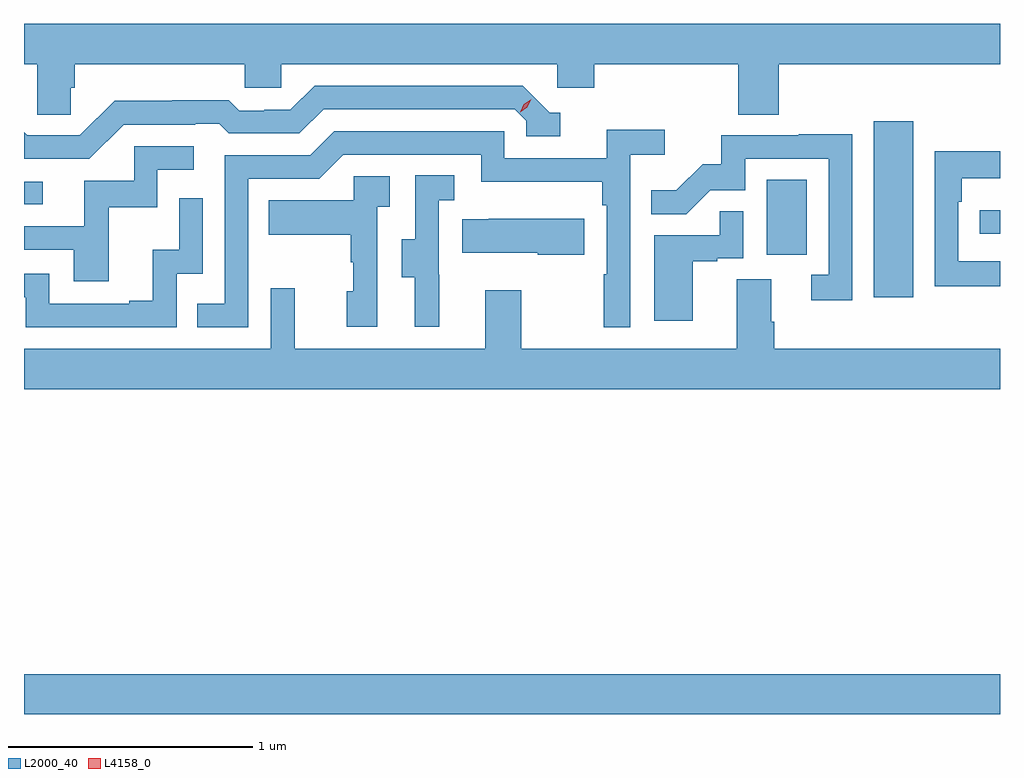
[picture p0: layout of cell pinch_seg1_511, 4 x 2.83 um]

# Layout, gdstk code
import gdstk
lib = gdstk.Library(unit=1e-6, precision=1e-09)
def R(c, l, rs):  # rectangles x0, y0, x1, y1
    for r in rs: c.add(gdstk.rectangle(r[:2], r[2:], *l))
def P(c, l, *ps):  # polygons
    for p in ps: c.add(gdstk.Polygon(p, *l))
L2000_40 = (2000, 40)
L4158_0 = (4158, 0)

pinch_seg1_511 = lib.new_cell('pinch_seg1_511')
R(pinch_seg1_511, L2000_40, [(1028.561,522.428,1032.561,522.592), (1032.044,524.136,1032.205,524.857), (1031.606,524.31,1031.77,524.617), (1032.477,524.397,1032.561,524.493), (1028.561,524.517,1028.638,524.61)])
P(pinch_seg1_511, L2000_40, [(1028.753,524.994),(1028.768,524.994),(1028.768,525.092),(1029.465,525.092),(1029.465,524.994),(1029.615,524.994),(1029.615,525.092),(1030.746,525.092),(1030.746,524.994),(1030.898,524.994),(1030.898,525.092),(1031.489,525.092),(1031.489,524.884),(1031.654,524.884),(1031.654,525.092),(1032.561,525.092),(1032.561,525.256),(1028.561,525.256),(1028.561,525.092),(1028.616,525.092),(1028.616,524.884),(1028.753,524.884)],
  [(1028.97,524.844),(1029.263,524.844),(1029.263,524.847),(1029.362,524.847),(1029.401,524.808),(1029.69,524.808),(1029.789,524.907),(1030.572,524.907),(1030.62,524.859),(1030.62,524.796),(1030.759,524.796),(1030.759,524.892),(1030.716,524.892),(1030.605,525.003),(1029.752,525.003),(1029.653,524.904),(1029.546,524.904),(1029.546,524.901),(1029.443,524.901),(1029.401,524.944),(1029.168,524.944),(1029.168,524.941),(1028.932,524.941),(1028.79,524.799),(1028.574,524.799),(1028.561,524.812),(1028.561,524.703),(1028.829,524.703)],
  [(1029.48,524.622),(1029.771,524.622),(1029.87,524.721),(1030.434,524.721),(1030.434,524.609),(1030.93,524.609),(1030.93,524.513),(1030.95,524.513),(1030.95,524.231),(1030.938,524.231),(1030.938,524.013),(1031.046,524.013),(1031.046,524.72),(1031.188,524.72),(1031.188,524.822),(1030.949,524.822),(1030.949,524.706),(1030.53,524.706),(1030.53,524.817),(1029.833,524.817),(1029.734,524.718),(1029.384,524.718),(1029.384,524.109),(1029.271,524.109),(1029.271,524.013),(1029.48,524.013)],
  [(1031.955,524.804),(1031.737,524.804),(1031.737,524.799),(1031.419,524.799),(1031.419,524.682),(1031.342,524.682),(1031.235,524.575),(1031.131,524.575),(1031.131,524.476),(1031.275,524.476),(1031.373,524.574),(1031.517,524.574),(1031.517,524.703),(1031.859,524.703),(1031.859,524.229),(1031.787,524.229),(1031.787,524.124),(1031.955,524.124)],
  [(1028.909,524.505),(1029.108,524.505),(1029.108,524.658),(1029.256,524.658),(1029.256,524.754),(1029.012,524.754),(1029.012,524.613),(1028.807,524.613),(1028.807,524.427),(1028.561,524.427),(1028.561,524.331),(1028.765,524.331),(1028.765,524.202),(1028.909,524.202)],
  [(1032.561,524.283),(1032.39,524.283),(1032.39,524.528),(1032.404,524.528),(1032.404,524.624),(1032.561,524.624),(1032.561,524.734),(1032.294,524.734),(1032.294,524.182),(1032.561,524.182)],
  [(1030.262,524.229),(1030.26,524.229),(1030.26,524.533),(1030.324,524.533),(1030.324,524.636),(1030.164,524.636),(1030.164,524.373),(1030.109,524.373),(1030.109,524.218),(1030.163,524.218),(1030.163,524.016),(1030.262,524.016)],
  [(1030.008,524.507),(1030.06,524.507),(1030.06,524.631),(1029.912,524.631),(1029.912,524.533),(1029.565,524.533),(1029.565,524.393),(1029.9,524.393),(1029.9,524.279),(1029.91,524.279),(1029.91,524.16),(1029.884,524.16),(1029.884,524.016),(1030.008,524.016)],
  [(1029.186,524.232),(1029.294,524.232),(1029.294,524.542),(1029.198,524.542),(1029.198,524.33),(1029.089,524.33),(1029.089,524.121),(1028.993,524.121),(1028.993,524.109),(1028.664,524.109),(1028.664,524.232),(1028.561,524.232),(1028.561,524.136),(1028.568,524.136),(1028.568,524.013),(1029.186,524.013)],
  [(1031.302,524.283),(1031.402,524.283),(1031.402,524.295),(1031.508,524.295),(1031.508,524.489),(1031.413,524.489),(1031.413,524.391),(1031.144,524.391),(1031.144,524.04),(1031.302,524.04)],
  [(1030.858,524.458),(1030.465,524.458),(1030.465,524.455),(1030.357,524.455),(1030.357,524.318),(1030.667,524.318),(1030.667,524.311),(1030.858,524.311)],
  [(1032.561,523.924),(1031.636,523.924),(1031.636,524.036),(1031.623,524.036),(1031.623,524.21),(1031.483,524.21),(1031.483,523.924),(1030.599,523.924),(1030.599,524.164),(1030.451,524.164),(1030.451,523.924),(1029.671,523.924),(1029.671,524.173),(1029.573,524.173),(1029.573,523.924),(1028.561,523.924),(1028.561,523.76),(1032.561,523.76)])
P(pinch_seg1_511, L4158_0, [(1030.594,524.895),(1030.594,524.895),(1030.609,524.928),(1030.639,524.948),(1030.64,524.948),(1030.64,524.948),(1030.624,524.915),(1030.594,524.895)])

lib.write_gds('pinch_seg1_511.gds')
